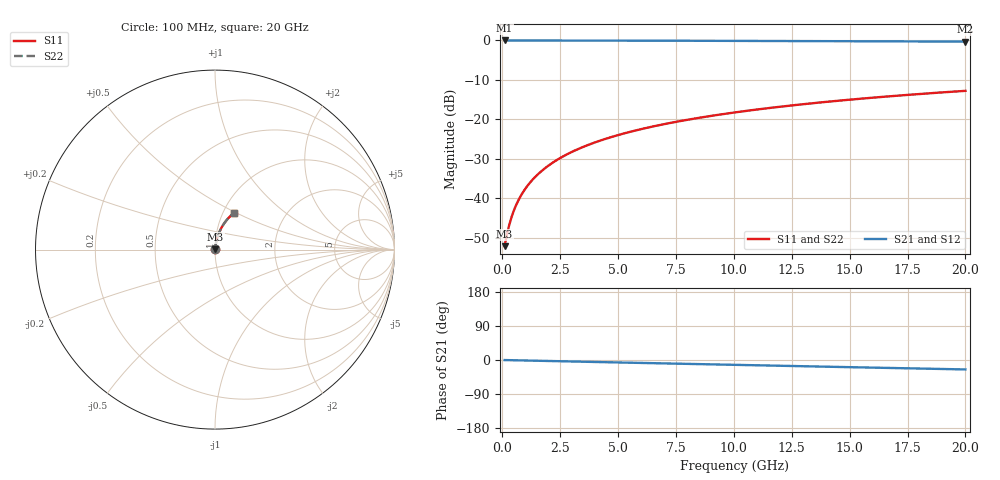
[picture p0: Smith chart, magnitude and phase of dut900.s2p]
! Touchstone file exported from HFSS 2026.1.0
!  File:  C:/ffzhzh/LocalFiles/Ansys_Project_Files/temp_train_TMRDL_900_1783157804_43440.aedt
!  Generated:  05:37:56 PM Jul  4, 2026
!  Design:  TMRDL
!  Project:  temp_train_TMRDL_900_1783157804_43440
! Variables:
!  h_bsmrdl = 2um
!  h_ox = 20um
!  h_rdl = 5um
!  h_sub = 80um
!  h_tmrdl = 5.16um
!  h_tsv = 80um
!  h_via = 3um
!  l_bsmrdl = 300um
!  l_sub = 765.92um
!  l_tmrdl = 365.92um
!  m_sub = 200um
!  pitch = 31.39um
!  r_tsv = 6um
!  s_tmrdl = 10um
!  w_bsmrdl = 18um
!  w_sub = 500um
!  w_tmrdl = 13.01um
!  x_tsv_center1 = 372.425um
!  x_tsv_center2 = 690.425um
!  x_tsv_center3 = 1069.355um
!  x_tsv_center4 = 1387.355um
!  x_tsv_center5 = 1766.285um
!  x_tsv_center6 = 2084.285um
# GHz S MA R 50.000000
! Terminal data exported
! Port[1] = TM_RDL1_1_T1
! Port[2] = TM_RDL1_1_T2
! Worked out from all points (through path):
!   200 points, 100 MHz to 20 GHz, reference 50 ohm
!   highest |S21| = -0.02 dB at 100 MHz (marker M1); lowest = -0.3 dB at 20 GHz (marker M2)
!   group delay of S21, straight-line fit = 3.45 ps
!   lowest |S11| = -52.2 dB at 100 MHz (marker M3), VSWR 1.00, Z = 50.2 + j0.139 ohm
!   |S11| at or under -10 dB: start of sweep to end of sweep
!   |S22| runs from -52.2 to -12.8 dB; largest |S21 - S12| = 2.6e-15
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0.1  0.002458 34.3  0.998 -0.1  0.998 -0.1  0.002458 34.3
! Gamma 0 0 0 0
! Port Impedance 50 0 50 0
0.2  0.003442 52.2  0.9979 -0.3  0.9979 -0.3  0.003442 52.2
0.3  0.004571 61.4  0.9978 -0.4  0.9978 -0.4  0.004571 61.4
0.4  0.005753 66.9  0.9978 -0.5  0.9978 -0.5  0.005753 66.9
0.5  0.006965 70.5  0.9977 -0.7  0.9977 -0.7  0.006965 70.5
0.6  0.008197 73.1  0.9976 -0.8  0.9976 -0.8  0.008196 73.1
0.8  0.0107 76.3  0.9976 -1.1  0.9976 -1.1  0.0107 76.3
1.1  0.01449 78.9  0.9974 -1.5  0.9974 -1.5  0.01449 78.9
1.5  0.01957 80.5  0.9972 -2.0  0.9972 -2.0  0.01957 80.5
1.8  0.02338 81.0  0.997 -2.4  0.997 -2.4  0.02338 81.0
2.1  0.02718 81.3  0.9968 -2.8  0.9968 -2.8  0.02718 81.3
2.7  0.03473 81.3  0.9963 -3.5  0.9963 -3.5  0.03473 81.3
3.5  0.04468 80.8  0.9954 -4.6  0.9954 -4.6  0.04468 80.8
4.2  0.05328 80.2  0.9946 -5.5  0.9946 -5.5  0.05328 80.2
5  0.06299 79.5  0.9936 -6.5  0.9936 -6.5  0.06299 79.5
5.9  0.07379 78.5  0.9924 -7.6  0.9924 -7.6  0.07378 78.5
6.8  0.08446 77.6  0.9911 -8.8  0.9911 -8.8  0.08446 77.6
8.3  0.102 76.0  0.9888 -10.7  0.9888 -10.7  0.102 76.0
10.1  0.1227 74.0  0.9857 -12.9  0.9857 -12.9  0.1227 74.0
13.4  0.1596 70.3  0.9794 -17.0  0.9794 -17.0  0.1596 70.3
16.7  0.1952 66.5  0.9722 -21.0  0.9722 -21.0  0.1952 66.5
20  0.2292 62.8  0.9641 -24.9  0.9641 -24.9  0.2292 62.8
